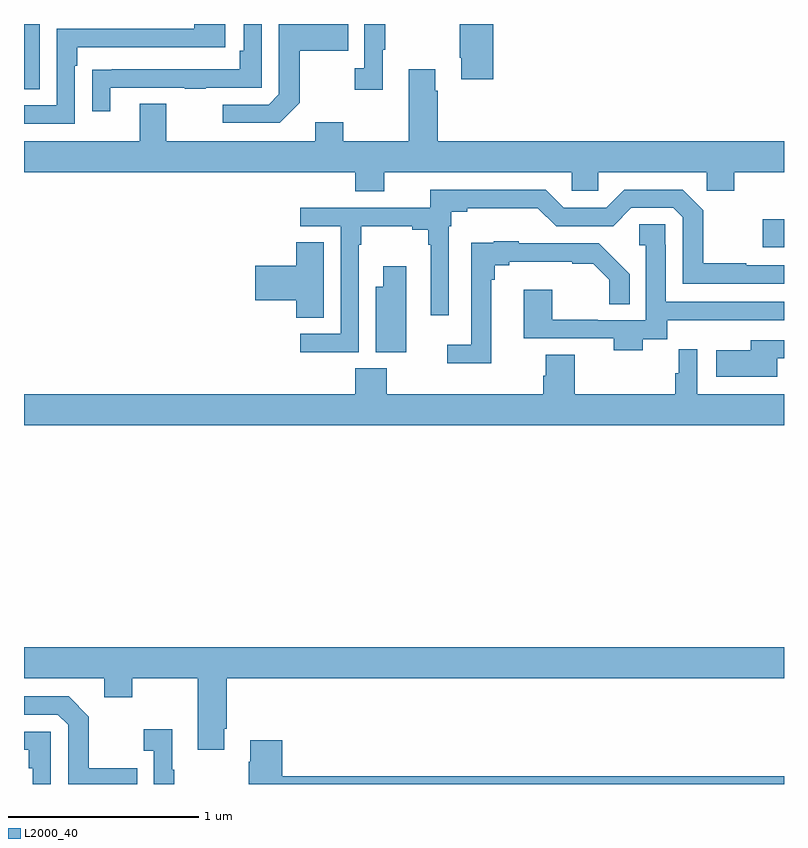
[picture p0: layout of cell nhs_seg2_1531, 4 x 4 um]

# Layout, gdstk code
import gdstk
lib = gdstk.Library(unit=1e-6, precision=1e-09)
def R(c, l, rs):  # rectangles x0, y0, x1, y1
    for r in rs: c.add(gdstk.rectangle(r[:2], r[2:], *l))
def P(c, l, *ps):  # polygons
    for p in ps: c.add(gdstk.Polygon(p, *l))
L2000_40 = (2000, 40)

nhs_seg2_1531 = lib.new_cell('nhs_seg2_1531')
R(nhs_seg2_1531, L2000_40, [(194.889,596.625,195,596.773), (191,597.457,191.082,597.8)])
P(nhs_seg2_1531, L2000_40, [(191.268,597.581),(191.281,597.581),(191.281,597.678),(192.058,597.678),(192.058,597.8),(191.897,597.8),(191.897,597.774),(191.172,597.774),(191.172,597.372),(191,597.372),(191,597.276),(191.268,597.276)],
  [(192.451,597.385),(192.451,597.658),(192.707,597.658),(192.707,597.8),(192.342,597.8),(192.342,597.429),(192.288,597.375),(192.045,597.375),(192.045,597.279),(192.345,597.279)],
  [(191.455,597.465),(191.845,597.465),(191.845,597.46),(191.957,597.46),(191.957,597.465),(192.252,597.465),(192.252,597.8),(192.156,597.8),(192.156,597.658),(192.136,597.658),(192.136,597.561),(191.461,597.561),(191.461,597.56),(191.359,597.56),(191.359,597.342),(191.455,597.342)],
  [(193.469,597.8),(193.294,597.8),(193.294,597.622),(193.301,597.622),(193.301,597.51),(193.469,597.51)],
  [(192.889,597.665),(192.901,597.665),(192.901,597.8),(192.792,597.8),(192.792,597.566),(192.741,597.566),(192.741,597.453),(192.889,597.453)],
  [(192.895,597.02),(193.884,597.02),(193.884,596.922),(194.022,596.922),(194.022,597.02),(194.593,597.02),(194.593,596.922),(194.739,596.922),(194.739,597.02),(195,597.02),(195,597.184),(193.178,597.184),(193.178,597.449),(193.165,597.449),(193.165,597.562),(193.025,597.562),(193.025,597.184),(192.681,597.184),(192.681,597.283),(192.533,597.283),(192.533,597.184),(191.749,597.184),(191.749,597.379),(191.609,597.379),(191.609,597.184),(191,597.184),(191,597.02),(192.743,597.02),(192.743,596.921),(192.895,596.921)],
  [(192.762,596.639),(192.775,596.639),(192.775,596.735),(193.043,596.735),(193.043,596.716),(193.128,596.716),(193.128,596.639),(193.14,596.639),(193.14,596.268),(193.236,596.268),(193.236,596.735),(193.249,596.735),(193.249,596.812),(193.333,596.812),(193.333,596.831),(193.705,596.831),(193.8,596.736),(194.1,596.736),(194.196,596.832),(194.418,596.832),(194.466,596.784),(194.466,596.433),(195,596.433),(195,596.529),(194.801,596.529),(194.801,596.542),(194.575,596.542),(194.575,596.819),(194.466,596.928),(194.16,596.928),(194.064,596.832),(193.842,596.832),(193.746,596.928),(193.138,596.928),(193.138,596.832),(192.453,596.832),(192.453,596.736),(192.666,596.736),(192.666,596.169),(192.453,596.169),(192.453,596.073),(192.762,596.073)],
  [(194.257,596.141),(194.386,596.141),(194.386,596.24),(194.655,596.24),(194.655,596.241),(195,596.241),(195,596.337),(194.377,596.337),(194.377,596.639),(194.376,596.639),(194.376,596.747),(194.238,596.747),(194.238,596.636),(194.273,596.636),(194.273,596.241),(194.021,596.241),(194.021,596.243),(193.779,596.243),(193.779,596.401),(193.631,596.401),(193.631,596.145),(194.105,596.145),(194.105,596.084),(194.257,596.084)],
  [(193.459,596.453),(193.477,596.453),(193.477,596.53),(193.555,596.53),(193.555,596.549),(193.886,596.549),(193.886,596.538),(193.995,596.538),(194.079,596.455),(194.079,596.326),(194.188,596.326),(194.188,596.483),(194.104,596.566),(194.105,596.567),(194.026,596.646),(193.605,596.646),(193.605,596.656),(193.473,596.656),(193.473,596.648),(193.355,596.648),(193.355,596.113),(193.227,596.113),(193.227,596.015),(193.459,596.015)],
  [(192.577,596.651),(192.434,596.651),(192.434,596.528),(192.216,596.528),(192.216,596.345),(192.434,596.345),(192.434,596.254),(192.577,596.254)],
  [(193.012,596.524),(192.89,596.524),(192.89,596.416),(192.851,596.416),(192.851,596.073),(193.012,596.073)],
  [(194.965,596.04),(195,596.04),(195,596.136),(194.825,596.136),(194.825,596.083),(194.643,596.083),(194.643,595.943),(194.965,595.943)],
  [(195,595.852),(194.544,595.852),(194.544,596.089),(194.447,596.089),(194.447,595.962),(194.428,595.962),(194.428,595.852),(193.898,595.852),(193.898,596.06),(193.745,596.06),(193.745,595.95),(193.733,595.95),(193.733,595.852),(192.908,595.852),(192.908,595.987),(192.743,595.987),(192.743,595.852),(191,595.852),(191,595.688),(195,595.688)],
  [(192.055,594.091),(192.068,594.091),(192.068,594.356),(195,594.356),(195,594.52),(191,594.52),(191,594.356),(191.423,594.356),(191.423,594.257),(191.571,594.257),(191.571,594.356),(191.915,594.356),(191.915,593.979),(192.055,593.979)],
  [(191.597,593.883),(191.341,593.883),(191.341,594.155),(191.235,594.261),(191,594.261),(191,594.165),(191.178,594.165),(191.232,594.111),(191.232,593.8),(191.597,593.8)],
  [(191.791,593.875),(191.779,593.875),(191.779,594.088),(191.631,594.088),(191.631,593.975),(191.682,593.975),(191.682,593.8),(191.791,593.8)],
  [(191.142,594.075),(191,594.075),(191,593.979),(191.026,593.979),(191.026,593.882),(191.046,593.882),(191.046,593.8),(191.142,593.8)],
  [(195,593.84),(192.359,593.84),(192.359,594.031),(192.191,594.031),(192.191,593.918),(192.184,593.918),(192.184,593.8),(195,593.8)])

lib.write_gds('nhs_seg2_1531.gds')
